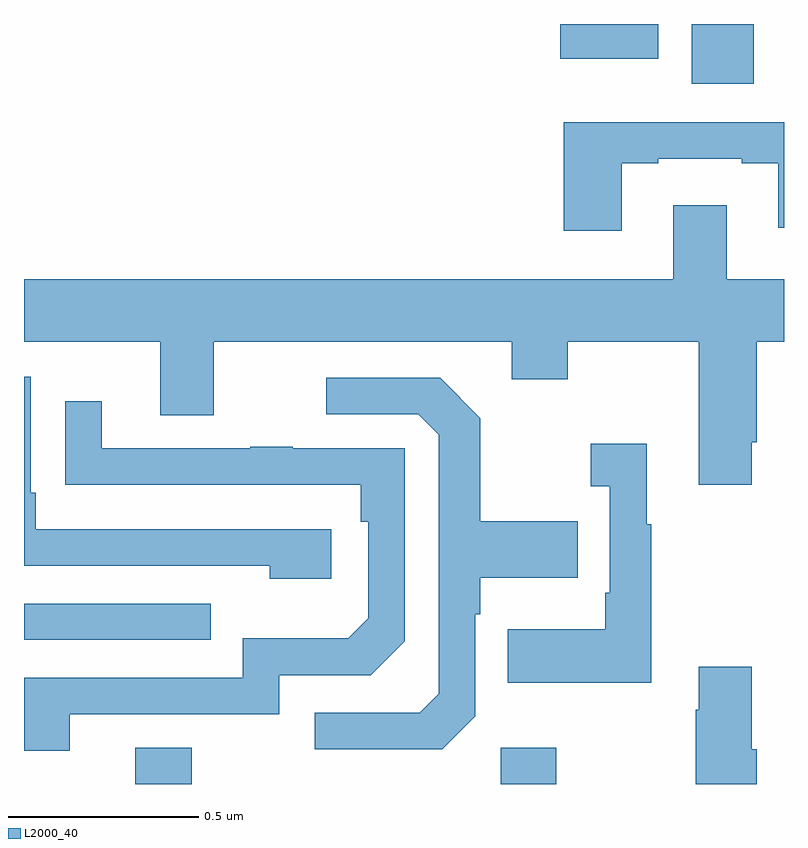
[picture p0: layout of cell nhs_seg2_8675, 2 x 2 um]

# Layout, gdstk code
import gdstk
lib = gdstk.Library(unit=1e-6, precision=1e-09)
def R(c, l, rs):  # rectangles x0, y0, x1, y1
    for r in rs: c.add(gdstk.rectangle(r[:2], r[2:], *l))
def P(c, l, *ps):  # polygons
    for p in ps: c.add(gdstk.Polygon(p, *l))
L2000_40 = (2000, 40)

nhs_seg2_8675 = lib.new_cell('nhs_seg2_8675')
R(nhs_seg2_8675, L2000_40, [(219.293,651.8,219.441,651.895), (220.254,651.8,220.401,651.895), (219,652.179,219.491,652.275), (220.757,653.643,220.921,653.8), (220.411,653.708,220.669,653.8)])
P(nhs_seg2_8675, L2000_40, [(220.573,653.433),(220.669,653.433),(220.669,653.445),(220.889,653.445),(220.889,653.433),(220.985,653.433),(220.985,653.264),(221,653.264),(221,653.541),(220.665,653.541),(220.665,653.542),(220.421,653.542),(220.421,653.256),(220.573,653.256)],
  [(220.915,652.699),(220.928,652.699),(220.928,652.964),(221,652.964),(221,653.128),(220.849,653.128),(220.849,653.323),(220.709,653.323),(220.709,653.128),(219,653.128),(219,652.964),(219.359,652.964),(219.359,652.77),(219.499,652.77),(219.499,652.964),(220.283,652.964),(220.283,652.865),(220.431,652.865),(220.431,652.964),(220.775,652.964),(220.775,652.587),(220.915,652.587)],
  [(219.808,652.47),(219.031,652.47),(219.031,652.567),(219.018,652.567),(219.018,652.872),(219,652.872),(219,652.374),(219.647,652.374),(219.647,652.34),(219.808,652.34)],
  [(220.188,651.978),(220.188,652.247),(220.201,652.247),(220.201,652.343),(220.457,652.343),(220.457,652.491),(220.201,652.491),(220.201,652.763),(220.095,652.869),(219.795,652.869),(219.795,652.773),(220.038,652.773),(220.092,652.719),(220.092,652.038),(220.041,651.987),(219.765,651.987),(219.765,651.891),(220.101,651.891)],
  [(219.121,651.984),(219.672,651.984),(219.672,652.086),(219.912,652.086),(220.002,652.176),(220.002,652.683),(219.707,652.683),(219.707,652.688),(219.595,652.688),(219.595,652.683),(219.205,652.683),(219.205,652.807),(219.109,652.807),(219.109,652.588),(219.211,652.588),(219.211,652.587),(219.886,652.587),(219.886,652.49),(219.906,652.49),(219.906,652.236),(219.853,652.183),(219.576,652.183),(219.576,652.08),(219,652.08),(219,651.888),(219.121,651.888)],
  [(220.651,652.483),(220.639,652.483),(220.639,652.696),(220.491,652.696),(220.491,652.583),(220.542,652.583),(220.542,652.303),(220.53,652.303),(220.53,652.207),(220.273,652.207),(220.273,652.067),(220.651,652.067)],
  [(220.928,651.892),(220.915,651.892),(220.915,652.108),(220.775,652.108),(220.775,651.995),(220.768,651.995),(220.768,651.8),(220.928,651.8)])

lib.write_gds('nhs_seg2_8675.gds')
